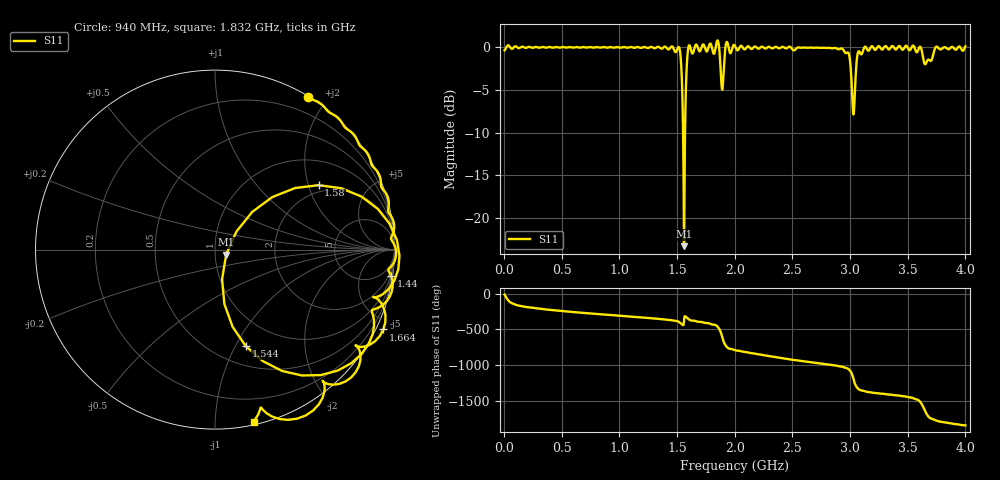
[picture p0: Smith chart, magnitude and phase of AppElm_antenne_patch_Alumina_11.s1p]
! TOUCHSTONE file generated by CST MICROWAVE STUDIO
! Date and time: Thu Jun  9 07:40:04 2022
! Project name: AppElm_antenne_patch_Alumina.cst
! Parameters = {L=30.5; W=52.25; e=0.035; h=1.6; lambda=0.190476; ls=90; w0=1.12; w1=0.373; ws=90; y0=14; y1=10}
! Header version: 2018
! Port assignment regex: !\s*Touchstone port\s*([0-9]+)\s*=\s*(CST MWS port|CST DS port)\s*([0-9]+|Zmin|Zmax)\s*\(\"(.*)\"\)(\s*mode\s*([0-9]+))?.*
! Touchstone port assignment:
! Touchstone port 1 = CST MWS port 1 ("")
# GHz S MA R 50
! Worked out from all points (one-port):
!   1000 points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, 4 MHz to 4 GHz, reference 50 ohm
!   lowest |S11| = -23.3 dB at 1.56 GHz (marker M1), VSWR 1.15, Z = 56.6 - j3.13 ohm
!   |S11| at or under -10 dB: 1.552 GHz to 1.569 GHz (17.01 MHz wide, 1.09 % of centre)
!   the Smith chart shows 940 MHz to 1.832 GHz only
!   S11 on the Smith chart (normalised r, x): 940 MHz: 0.01, +1.78; 1.44 GHz: 1, -13; 1.544 GHz: 0.70, -1.10; 1.58 GHz: 1.75, +2.34; 1.664 GHz: -0.39, -4.41; 1.832 GHz: 0.02, -1.25
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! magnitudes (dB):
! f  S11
! 4 MHz  -0.3
! 504 MHz  0.0
! 940 MHz  0.0
! 1.004 GHz  0.0
! 1.44 GHz  -0.1
! 1.504 GHz  -0.1
! 1.528 GHz  -0.8
! 1.544 GHz  -5.0
! 1.56 GHz  -23.3
! 1.58 GHz  -3.4
! 1.588 GHz  -1.2
! 1.6 GHz  0.1
! 1.664 GHz  0.3
! 1.832 GHz  -0.2
! 1.856 GHz  0.7
! 1.892 GHz  -5.0
! 1.932 GHz  0.6
! 2.004 GHz  0.1
! 2.504 GHz  -0.3
! 2.928 GHz  -0.1
! 2.984 GHz  -0.6
! 3.004 GHz  -2.2
! 3.028 GHz  -7.9
! 3.072 GHz  -0.5
! 3.124 GHz  0.0
! 3.504 GHz  -0.2
! 3.66 GHz  -1.8
! 4 GHz  0.1
